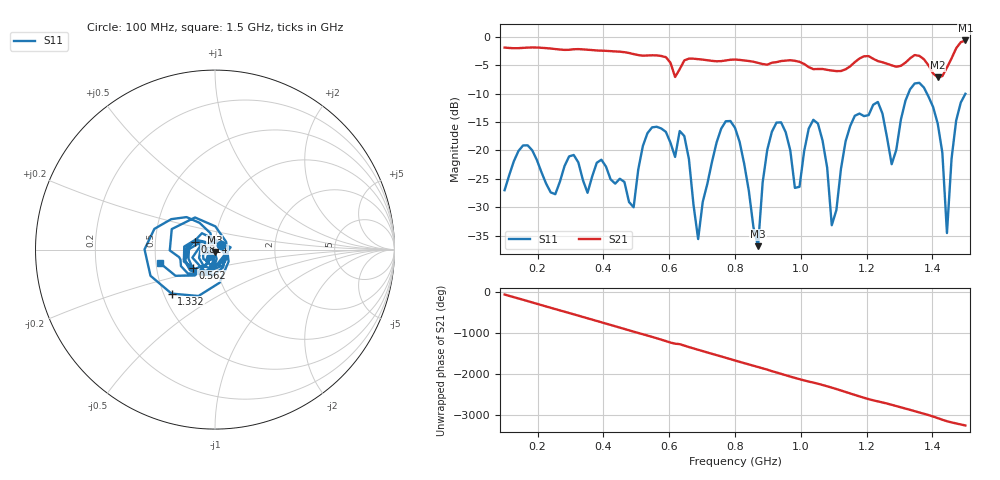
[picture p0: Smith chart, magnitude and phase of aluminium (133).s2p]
! NanoVNA-App
! Date: 2025-09-25 14:56:19
! Start: 100MHz Stop: 1,5GHz Points: 101
! S-Parameter data: F S11 S21 S12 S22
# Hz S RI R 50
!  Frequency  S11_Real  S11_Imag  S21_Real  S21_Imag  S12_Real  S12_Imag  S22_Real  S22_Imag
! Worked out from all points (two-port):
!   101 points, 100 MHz to 1.5 GHz, reference 50 ohm
!   highest |S21| = -0.66 dB at 1.5 GHz (marker M1); lowest = -7.1 dB at 1.416 GHz (marker M2)
!   |S21| within 3 dB of the highest: start of sweep to 590.9 MHz; 1.459 GHz to end of sweep (the widest 2 of 4)
!   lowest |S11| = -36.8 dB at 870 MHz (marker M3), VSWR 1.03, Z = 49.8 - j1.42 ohm
!   |S11| at or under -10 dB: start of sweep to 1.327 GHz; 1.383 GHz to end of sweep
!   S12 and S22 are empty: the file has one direction only
!   S11 on the Smith chart (normalised r, x): 100 MHz: 1.07, +0.06; 562 MHz: 0.76, -0.16; 814 MHz: 0.80, +0.07; 1.332 GHz: 0.55, -0.31; 1.5 GHz: 0.53, -0.09
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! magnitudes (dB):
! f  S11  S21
! 100 MHz  -27.0  -1.9
! 338 MHz  -25.2  -2.2
! 492 MHz  -30.0  -3.1
! 562 MHz  -15.8  -3.3
! 576 MHz  -16.1  -3.4
! 646 MHz  -17.5  -4.2
! 688 MHz  -35.6  -4.0
! 800 MHz  -16.0  -4.0
! 814 MHz  -18.5  -4.1
! 870 MHz  -36.8  -4.6
! 912 MHz  -16.7  -4.6
! 996 MHz  -26.4  -4.4
! 1.038 GHz  -14.6  -5.7
! 1.094 GHz  -33.2  -6.0
! 1.164 GHz  -13.9  -4.5
! 1.234 GHz  -11.5  -4.3
! 1.276 GHz  -22.4  -5.0
! 1.332 GHz  -9.3  -3.8
! 1.416 GHz  -15.3  -7.1
! 1.444 GHz  -34.5  -5.4
! 1.472 GHz  -14.7  -2.0
! 1.5 GHz  -10.0  -0.7
